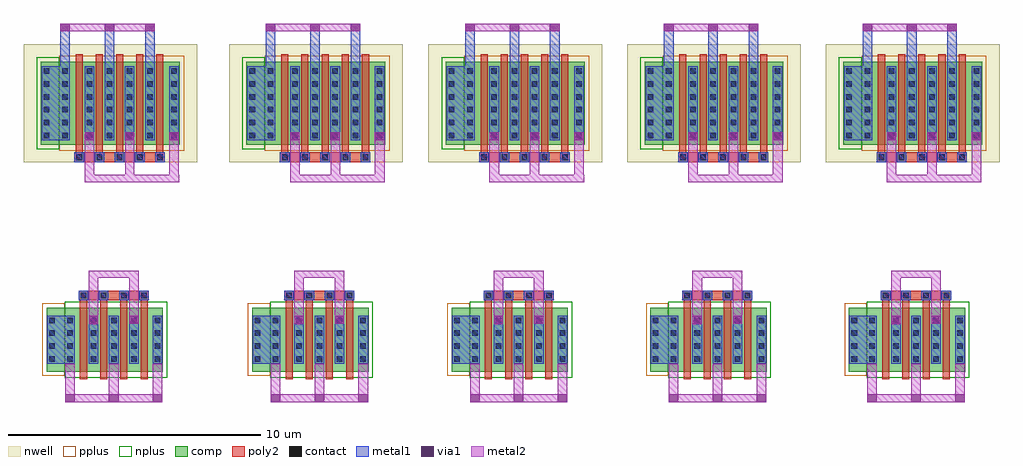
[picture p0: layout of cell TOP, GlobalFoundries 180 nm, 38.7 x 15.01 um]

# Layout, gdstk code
import gdstk
lib = gdstk.Library(unit=1e-6, precision=5e-09)
def R(c, l, rs):  # rectangles x0, y0, x1, y1
    for r in rs: c.add(gdstk.rectangle(r[:2], r[2:], *l))
def A(c, l, x, y, w, h, nx, ny, dx, dy):  # array of equal rectangles
    R(c, l, [(x+i*dx, y+j*dy, x+i*dx+w, y+j*dy+h) for i in range(nx) for j in range(ny)])
nwell = (21, 0)
comp = (22, 0)
poly2 = (30, 0)
pplus = (31, 0)
nplus = (32, 0)
contact = (33, 0)
metal1 = (34, 0)
via1 = (35, 0)
metal2 = (36, 0)

nfet_1 = lib.new_cell('nfet$1')
R(nfet_1, comp, [(-4.19,0,-3.48,2.54), (-3.48,0,-3.06,2.54), (-3.06,0,0,2.54), (0,0,0.42,2.54)])
A(nfet_1, poly2, -2.87, -0.3, 0.28, 3.14, 4, 1, 0.8, 0)
A(nfet_1, poly2, -2.91, 2.84, 0.36, 0.36, 4, 1, 0.8, 0)
R(nfet_1, pplus, [(-4.36,-0.17,-3.48,2.71)])
R(nfet_1, nplus, [(-3.48,-0.24,0.59,2.78)])
A(nfet_1, contact, -4.09, 0.395, 0.22, 0.22, 1, 4, 0, 0.51)
A(nfet_1, contact, -3.38, 0.395, 0.22, 0.22, 1, 4, 0, 0.51)
A(nfet_1, contact, -2.44, 0.395, 0.22, 0.22, 3, 4, 0.8, 0.51)
A(nfet_1, contact, 0.1, 0.395, 0.22, 0.22, 1, 4, 0, 0.51)
A(nfet_1, contact, -2.84, 2.91, 0.22, 0.22, 4, 1, 0.8, 0)
A(nfet_1, metal1, -2.52, 0.315, 0.38, 1.91, 3, 1, 0.8, 0)
A(nfet_1, metal1, -2.92, 2.83, 0.38, 0.38, 4, 1, 0.8, 0)
R(nfet_1, metal1, [(-4.17,0.315,-3.79,2.225), (-3.46,0.315,-3.08,2.225), (0.02,0.315,0.4,2.225)])

pfet = lib.new_cell('pfet')
R(pfet, nwell, [(-5.74,-0.69,1.15,3.99)])
R(pfet, comp, [(-5.05,0,-4.32,3.3), (-4.32,0,-3.86,3.3), (-3.86,0,0,3.3), (0,0,0.46,3.3)])
A(pfet, poly2, -3.72, -0.68, 0.38, 0.38, 5, 1, 0.8, 0)
A(pfet, poly2, -3.67, -0.3, 0.28, 3.9, 5, 1, 0.8, 0)
R(pfet, pplus, [(-4.32,-0.24,0.63,3.54)])
R(pfet, nplus, [(-5.22,-0.17,-4.32,3.47)])
A(pfet, contact, -3.64, -0.6, 0.22, 0.22, 5, 1, 0.8, 0)
A(pfet, contact, -4.93, 0.265, 0.22, 0.22, 1, 6, 0, 0.51)
A(pfet, contact, -4.2, 0.265, 0.22, 0.22, 1, 6, 0, 0.51)
A(pfet, contact, -3.24, 0.265, 0.22, 0.22, 4, 6, 0.8, 0.51)
A(pfet, contact, 0.12, 0.265, 0.22, 0.22, 1, 6, 0, 0.51)
A(pfet, metal1, -3.72, -0.68, 0.38, 0.38, 5, 1, 0.8, 0)
A(pfet, metal1, -3.32, 0.185, 0.38, 2.93, 4, 1, 0.8, 0)
R(pfet, metal1, [(-5.01,0.185,-4.63,3.115), (-4.28,0.185,-3.9,3.115), (0.04,0.185,0.42,3.115)])

top = lib.new_cell('TOP')
R(top, nwell, [(-44.04,12.31,-41.26,12.69), (-35.89,12.31,-33.11,12.69), (-27.985,12.31,-25.205,12.69), (-20.105,12.31,-17.325,12.69), (-12.23,12.31,-9.45,12.69), (-44.21,17.79,-40.63,18.17), (-36.06,17.79,-32.48,18.17), (-28.155,17.79,-24.575,18.17), (-20.275,17.79,-16.695,18.17), (-12.4,17.79,-8.82,18.17)])
R(top, poly2, [(-44.04,12.31,-41.26,12.69), (-35.89,12.31,-33.11,12.69), (-27.985,12.31,-25.205,12.69), (-20.105,12.31,-17.325,12.69), (-12.23,12.31,-9.45,12.69), (-44.21,17.79,-40.63,18.17), (-36.06,17.79,-32.48,18.17), (-28.155,17.79,-24.575,18.17), (-20.275,17.79,-16.695,18.17), (-12.4,17.79,-8.82,18.17)])
R(top, metal1, [(-45.29,9.795,-44.2,11.705), (-37.14,9.795,-36.05,11.705), (-29.235,9.795,-28.145,11.705), (-21.355,9.795,-20.265,11.705), (-13.48,9.795,-12.39,11.705), (-45.5,18.655,-44.39,21.585), (-37.35,18.655,-36.24,21.585), (-29.445,18.655,-28.335,21.585), (-21.565,18.655,-20.455,21.585), (-13.69,18.655,-12.58,21.585), (-44.77,21.585,-44.39,23.275), (-43.01,21.585,-42.63,23.275), (-41.41,21.585,-41.03,23.275), (-36.62,21.585,-36.24,23.275), (-34.86,21.585,-34.48,23.275), (-33.26,21.585,-32.88,23.275), (-28.715,21.585,-28.335,23.275), (-26.955,21.585,-26.575,23.275), (-25.355,21.585,-24.975,23.275), (-20.835,21.585,-20.455,23.275), (-19.075,21.585,-18.695,23.275), (-17.475,21.585,-17.095,23.275), (-12.96,21.585,-12.58,23.275), (-11.2,21.585,-10.82,23.275), (-9.6,21.585,-9.22,23.275)])
R(top, via1, [(-44.58,8.265,-44.2,8.58), (-44.58,8.265,-44.2,8.58), (-42.84,8.265,-42.46,8.58), (-42.84,8.265,-42.46,8.58), (-41.1,8.265,-40.72,8.58), (-41.1,8.265,-40.72,8.58), (-36.43,8.265,-36.05,8.58), (-36.43,8.265,-36.05,8.58), (-34.69,8.265,-34.31,8.58), (-34.69,8.265,-34.31,8.58), (-32.95,8.265,-32.57,8.58), (-32.95,8.265,-32.57,8.58), (-28.525,8.265,-28.145,8.58), (-28.525,8.265,-28.145,8.58), (-26.785,8.265,-26.405,8.58), (-26.785,8.265,-26.405,8.58), (-25.045,8.265,-24.665,8.58), (-25.045,8.265,-24.665,8.58), (-20.645,8.265,-20.265,8.58), (-20.645,8.265,-20.265,8.58), (-18.905,8.265,-18.525,8.58), (-18.905,8.265,-18.525,8.58), (-17.165,8.265,-16.785,8.58), (-17.165,8.265,-16.785,8.58), (-12.77,8.265,-12.39,8.58), (-12.77,8.265,-12.39,8.58), (-11.03,8.265,-10.65,8.58), (-11.03,8.265,-10.65,8.58), (-9.29,8.265,-8.91,8.58), (-9.29,8.265,-8.91,8.58), (-43.64,11.365,-43.26,11.705), (-35.49,11.365,-35.11,11.705), (-27.585,11.365,-27.205,11.705), (-19.705,11.365,-19.325,11.705), (-11.83,11.365,-11.45,11.705), (-42.04,11.375,-41.66,11.705), (-33.89,11.375,-33.51,11.705), (-25.985,11.375,-25.605,11.705), (-18.105,11.375,-17.725,11.705), (-10.23,11.375,-9.85,11.705), (-43.81,18.655,-43.43,18.97), (-42.21,18.655,-41.83,18.97), (-40.445,18.655,-40.065,18.97), (-35.66,18.655,-35.28,18.97), (-34.06,18.655,-33.68,18.97), (-32.295,18.655,-31.915,18.97), (-27.755,18.655,-27.375,18.97), (-26.155,18.655,-25.775,18.97), (-24.39,18.655,-24.01,18.97), (-19.875,18.655,-19.495,18.97), (-18.275,18.655,-17.895,18.97), (-16.51,18.655,-16.13,18.97), (-12,18.655,-11.62,18.97), (-10.4,18.655,-10.02,18.97), (-8.635,18.655,-8.255,18.97), (-44.77,22.985,-44.39,23.275), (-43.01,22.985,-42.63,23.275), (-41.41,22.985,-41.03,23.275), (-41.41,22.985,-41.03,23.275), (-36.62,22.985,-36.24,23.275), (-34.86,22.985,-34.48,23.275), (-33.26,22.985,-32.88,23.275), (-33.26,22.985,-32.88,23.275), (-28.715,22.985,-28.335,23.275), (-26.955,22.985,-26.575,23.275), (-25.355,22.985,-24.975,23.275), (-25.355,22.985,-24.975,23.275), (-20.835,22.985,-20.455,23.275), (-19.075,22.985,-18.695,23.275), (-17.475,22.985,-17.095,23.275), (-17.475,22.985,-17.095,23.275), (-12.96,22.985,-12.58,23.275), (-11.2,22.985,-10.82,23.275), (-9.6,22.985,-9.22,23.275), (-9.6,22.985,-9.22,23.275)])
R(top, metal2, [(-44.58,8.265,-40.72,8.58), (-44.58,8.265,-44.2,9.795), (-44.58,8.265,-44.2,9.795), (-42.84,8.265,-42.46,9.795), (-42.84,8.265,-42.46,9.795), (-41.1,8.265,-40.72,9.795), (-41.1,8.265,-40.72,9.795), (-36.43,8.265,-32.57,8.58), (-36.43,8.265,-36.05,9.795), (-36.43,8.265,-36.05,9.795), (-34.69,8.265,-34.31,9.795), (-34.69,8.265,-34.31,9.795), (-32.95,8.265,-32.57,9.795), (-32.95,8.265,-32.57,9.795), (-28.525,8.265,-24.665,8.58), (-28.525,8.265,-28.145,9.795), (-28.525,8.265,-28.145,9.795), (-26.785,8.265,-26.405,9.795), (-26.785,8.265,-26.405,9.795), (-25.045,8.265,-24.665,9.795), (-25.045,8.265,-24.665,9.795), (-20.645,8.265,-16.785,8.58), (-20.645,8.265,-20.265,9.795), (-20.645,8.265,-20.265,9.795), (-18.905,8.265,-18.525,9.795), (-18.905,8.265,-18.525,9.795), (-17.165,8.265,-16.785,9.795), (-17.165,8.265,-16.785,9.795), (-12.77,8.265,-8.91,8.58), (-12.77,8.265,-12.39,9.795), (-12.77,8.265,-12.39,9.795), (-11.03,8.265,-10.65,9.795), (-11.03,8.265,-10.65,9.795), (-9.29,8.265,-8.91,9.795), (-9.29,8.265,-8.91,9.795), (-43.64,11.365,-43.26,13.48), (-35.49,11.365,-35.11,13.48), (-27.585,11.365,-27.205,13.48), (-19.705,11.365,-19.325,13.48), (-11.83,11.365,-11.45,13.48), (-42.045,11.375,-41.66,13.48), (-33.895,11.375,-33.51,13.48), (-25.99,11.375,-25.605,13.48), (-18.11,11.375,-17.725,13.48), (-10.235,11.375,-9.85,13.48), (-43.64,13.21,-41.66,13.48), (-35.49,13.21,-33.51,13.48), (-27.585,13.21,-25.605,13.48), (-19.705,13.21,-17.725,13.48), (-11.83,13.21,-9.85,13.48), (-43.81,16.99,-40.06,17.28), (-43.81,16.99,-43.43,18.97), (-42.205,16.99,-41.83,18.97), (-40.45,16.99,-40.065,18.97), (-35.66,16.99,-31.91,17.28), (-35.66,16.99,-35.28,18.97), (-34.055,16.99,-33.68,18.97), (-32.3,16.99,-31.915,18.97), (-27.755,16.99,-24.005,17.28), (-27.755,16.99,-27.375,18.97), (-26.15,16.99,-25.775,18.97), (-24.395,16.99,-24.01,18.97), (-19.875,16.99,-16.125,17.28), (-19.875,16.99,-19.495,18.97), (-18.27,16.99,-17.895,18.97), (-16.515,16.99,-16.13,18.97), (-12,16.99,-8.25,17.28), (-12,16.99,-11.62,18.97), (-10.395,16.99,-10.02,18.97), (-8.64,16.99,-8.255,18.97), (-44.77,22.985,-41.03,23.275), (-36.62,22.985,-32.88,23.275), (-28.715,22.985,-24.975,23.275), (-20.835,22.985,-17.095,23.275), (-12.96,22.985,-9.22,23.275)])
top.add(gdstk.Reference(nfet_1, (-9.31,9.48)))
top.add(gdstk.Reference(nfet_1, (-41.12,9.48)))
top.add(gdstk.Reference(pfet, (-40.49,18.47)))
top.add(gdstk.Reference(nfet_1, (-17.185,9.48)))
top.add(gdstk.Reference(pfet, (-16.555,18.47)))
top.add(gdstk.Reference(pfet, (-8.68,18.47)))
top.add(gdstk.Reference(nfet_1, (-25.065,9.48)))
top.add(gdstk.Reference(pfet, (-24.435,18.47)))
top.add(gdstk.Reference(nfet_1, (-32.97,9.48)))
top.add(gdstk.Reference(pfet, (-32.34,18.47)))

lib.write_gds('TOP.gds')
